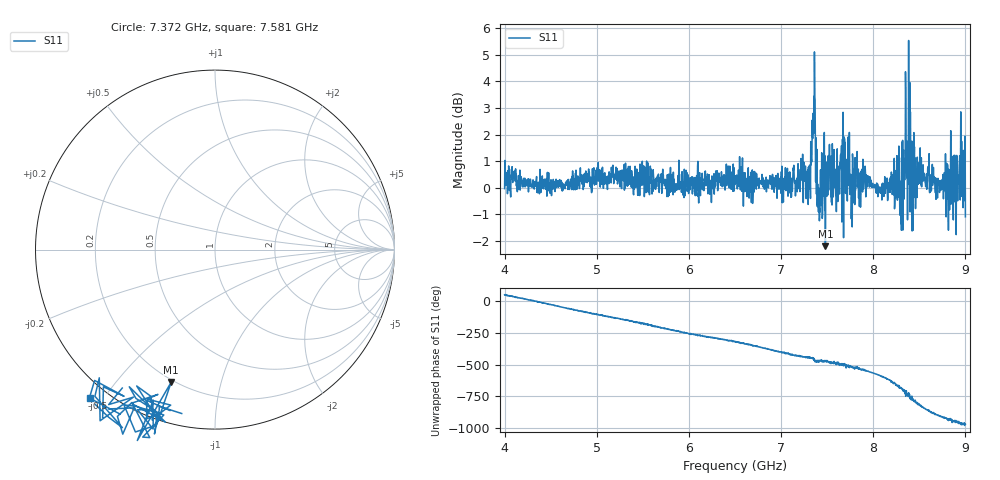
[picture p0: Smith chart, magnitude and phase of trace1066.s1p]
! Created with skrf 1.8.0 (http://scikit-rf.org).
# Hz S RI R 50.0
!freq ReS11 ImS11
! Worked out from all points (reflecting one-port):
!   1601 points, 4 GHz to 9 GHz, reference 50 ohm
!   lowest |S11| = -2.2 dB at 7.481 GHz (marker M1), VSWR 7.97, Z = 9.47 - j35.3 ohm
!   phase of S11 starts at 52 deg and turns -1022 deg over the sweep
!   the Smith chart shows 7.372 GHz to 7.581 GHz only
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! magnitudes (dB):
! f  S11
! 4 GHz  0.0
! 4.1 GHz  0.6
! 4.625 GHz  -0.1
! 5.25 GHz  0.0
! 5.875 GHz  0.0
! 6.5 GHz  0.3
! 7.125 GHz  0.2
! 7.241 GHz  -0.6
! 7.294 GHz  -0.6
! 7.319 GHz  -0.4
! 7.347 GHz  2.8
! 7.362 GHz  5.1
! 7.397 GHz  0.1
! 7.409 GHz  0.0
! 7.481 GHz  -2.2
! 7.534 GHz  1.0
! 7.609 GHz  1.5
! 7.669 GHz  1.4
! 7.75 GHz  -0.2
! 8.312 GHz  1.7
! 8.334 GHz  1.1
! 8.375 GHz  1.1
! 8.447 GHz  1.5
! 8.459 GHz  -0.8
! 8.812 GHz  0.5
! 8.959 GHz  1.8
! 8.972 GHz  1.0
! 9 GHz  -1.1
